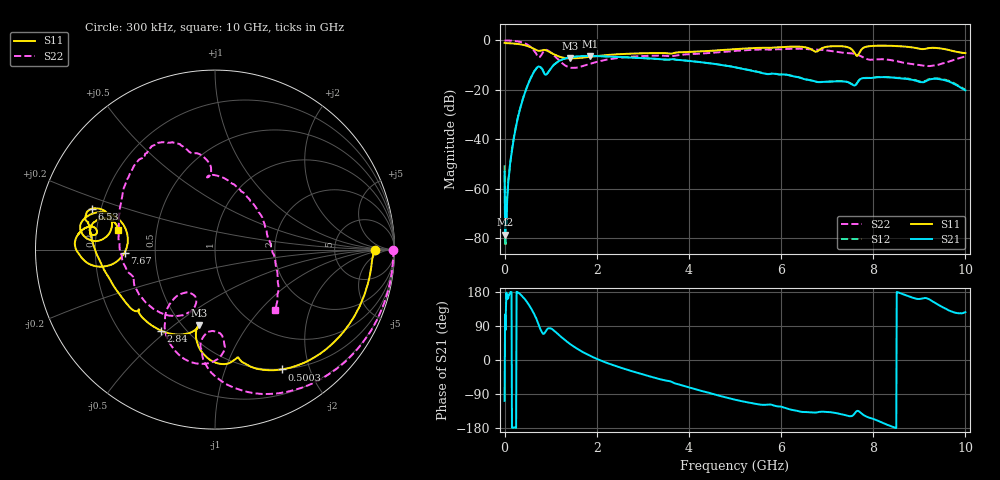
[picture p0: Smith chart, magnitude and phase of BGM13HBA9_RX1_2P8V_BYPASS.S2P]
!Agilent Technologies,E5071C,MY46316587,B.13.01
!Date: Thu Dec 07 13:12:16 2017
!Data & Calibration Information:
!Freq	S11:SOLT2(ON)	S21:SOLT2(ON)	S12:SOLT2(ON)	S22:SOLT2(ON)
!PortZ  Port1:50+j0  Port2:50+j0
!Above PortZ is port z conversion or system Z0 setting when saving the data.
!When reading, reference impedance value at option line is always used.
# Hz S dB R 50
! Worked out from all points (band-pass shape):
!   1001 points, 300 kHz to 10 GHz, reference 50 ohm
!   highest |S21| = -6.34 dB at 1.86 GHz (marker M1); lowest = -78.5 dB at 10.3 MHz (marker M2)
!   |S21| within 3 dB of the highest: 1.106 GHz to 4.483 GHz (3.377 GHz wide, 121 % of centre)
!   lowest |S11| = -7.3 dB at 1.42 GHz (marker M3), VSWR 2.51, Z = 29.8 - j30.8 ohm
!   |S11| at or under -10 dB: nowhere
!   |S22| runs from -11.1 to -0.1 dB; largest |S21 - S12| = 0.0062
!   S11 on the Smith chart (normalised r, x): 300 kHz: 17, -0; 500.3 MHz: 0.50, -1.59; 2.84 GHz: 0.37, -0.48; 6.53 GHz: 0.17, +0.16; 7.67 GHz: 0.33, -0.02; 10 GHz: 0.29, +0.09
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300000  -1.01 -0.1  -53.14 -107.8  -50.46 -73.1  -0.05 0.0
1.02997e7  -1.09 -1.7  -78.53 120.0  -79.51 -125.2  -0.05 -1.6
6.02982e7  -1.16 -7.8  -63.00 160.4  -61.93 152.0  -0.06 -9.2
1.202964e8  -1.20 -15.3  -49.63 176.4  -49.84 178.9  -0.11 -18.3
2.102937e8  -1.32 -26.4  -38.50 -177.8  -38.11 -178.1  -0.24 -32.0
5.00285e8  -2.34 -61.0  -18.18 150.6  -18.06 150.5  -1.79 -77.1
7.102787e8  -4.11 -77.5  -10.90 102.5  -10.84 102.4  -6.27 -97.4
1.030269e9  -5.25 -99.7  -10.74 81.6  -10.69 81.4  -5.36 -120.7
1.420257e9  -7.31 -102.1  -6.88 42.2  -6.86 42.4  -11.04 -121.6
1.67025e9  -7.04 -102.3  -6.41 22.8  -6.39 23.1  -10.55 -110.6
1.860244e9  -6.63 -104.4  -6.34 10.8  -6.33 11.0  -9.43 -109.5
2.840215e9  -5.31 -123.7  -7.01 -32.3  -7.05 -32.0  -6.51 -134.8
3.3402e9  -5.13 -135.9  -7.54 -49.7  -7.59 -49.5  -6.18 -152.4
5.00015e9  -3.55 -178.8  -10.89 -104.8  -10.85 -104.8  -4.27 146.4
6.530104e9  -2.84 161.6  -15.81 -137.4  -15.71 -137.3  -3.50 116.5
6.6701e9  -3.81 160.9  -16.29 -138.2  -16.22 -138.2  -3.67 114.5
7.260082e9  -2.36 169.2  -16.58 -141.7  -16.51 -141.6  -4.81 105.4
7.540074e9  -3.75 161.5  -17.80 -147.6  -17.72 -147.5  -5.28 100.4
7.67007e9  -5.96 -178.1  -16.69 -134.3  -16.62 -134.3  -5.97 95.3
8.34005e9  -2.19 175.3  -14.97 -172.6  -14.92 -172.6  -7.87 84.0
9.230023e9  -3.11 172.2  -15.75 158.9  -15.57 159.0  -10.40 13.1
1e10  -5.15 168.7  -20.21 126.4  -19.96 126.3  -6.51 -44.9
